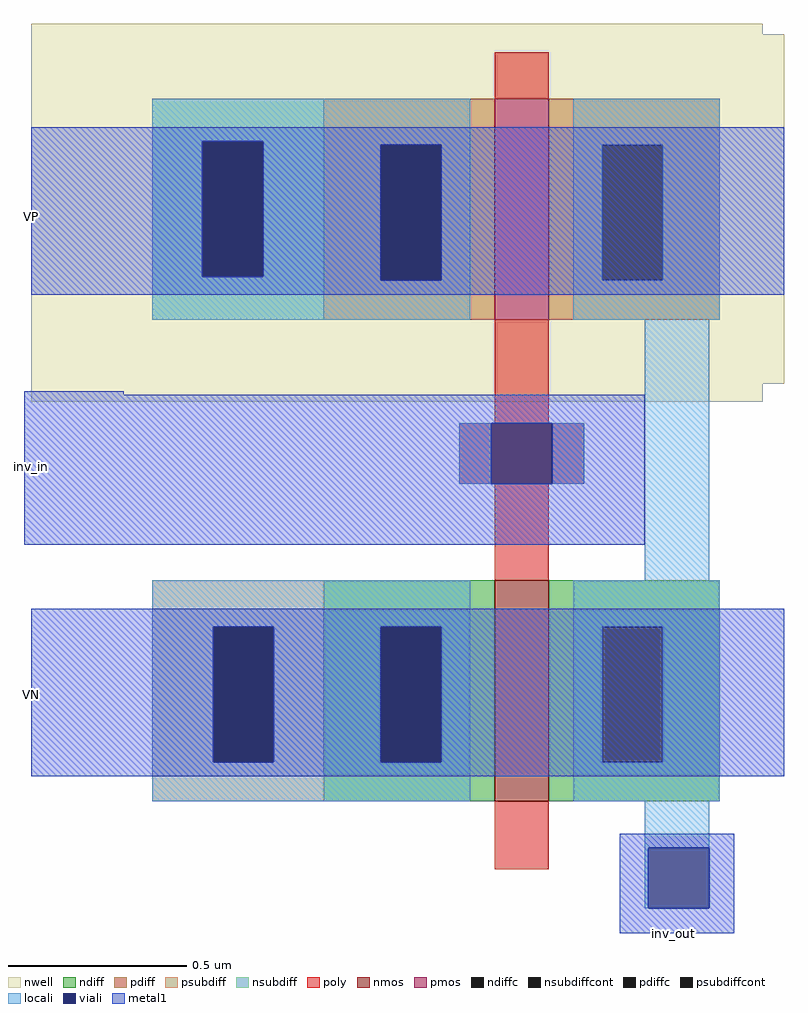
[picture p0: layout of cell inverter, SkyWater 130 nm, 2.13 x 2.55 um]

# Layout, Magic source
magic
tech sky130A
<< nwell >>
rect 338 245 543 248
rect 338 147 549 245
rect 338 142 543 147
<< nmos >>
rect 468 30 483 92
<< pmos >>
rect 468 165 483 227
<< ndiff >>
rect 420 79 468 92
rect 420 41 436 79
rect 453 41 468 79
rect 420 30 468 41
rect 483 79 531 92
rect 483 41 498 79
rect 515 41 531 79
rect 483 30 531 41
<< pdiff >>
rect 420 214 468 227
rect 420 176 436 214
rect 453 176 468 214
rect 420 165 468 176
rect 483 214 531 227
rect 483 176 498 214
rect 515 176 531 214
rect 483 165 531 176
<< ndiffc >>
rect 436 41 453 79
rect 498 41 515 79
<< pdiffc >>
rect 436 176 453 214
rect 498 176 515 214
<< psubdiff >>
rect 372 79 420 92
rect 372 41 389 79
rect 406 41 420 79
rect 372 30 420 41
<< nsubdiff >>
rect 372 215 420 227
rect 372 177 386 215
rect 403 177 420 215
rect 372 165 420 177
<< psubdiffcont >>
rect 389 41 406 79
<< nsubdiffcont >>
rect 386 177 403 215
<< poly >>
rect 468 227 483 240
rect 468 136 483 165
rect 458 119 493 136
rect 468 92 483 119
rect 468 11 483 30
<< locali >>
rect 372 215 461 227
rect 372 177 386 215
rect 403 214 461 215
rect 403 177 436 214
rect 372 176 436 177
rect 453 176 461 214
rect 372 165 461 176
rect 490 214 531 227
rect 490 176 498 214
rect 515 176 531 214
rect 490 165 531 176
rect 458 119 467 136
rect 484 119 493 136
rect 510 92 528 165
rect 372 79 461 92
rect 372 41 389 79
rect 406 41 436 79
rect 453 41 461 79
rect 372 30 461 41
rect 490 79 531 92
rect 490 41 498 79
rect 515 41 531 79
rect 490 30 531 41
rect 510 17 528 30
rect 510 0 511 17
<< viali >>
rect 386 177 403 215
rect 436 176 453 214
rect 467 119 484 136
rect 389 41 406 79
rect 436 41 453 79
rect 511 0 528 17
<< metal1 >>
rect 338 215 549 219
rect 338 177 386 215
rect 403 214 549 215
rect 403 177 436 214
rect 338 176 436 177
rect 453 176 549 214
rect 338 172 549 176
rect 336 144 364 145
rect 336 136 510 144
rect 336 119 467 136
rect 484 119 510 136
rect 336 102 510 119
rect 338 79 549 84
rect 338 41 389 79
rect 406 41 436 79
rect 453 41 549 79
rect 338 37 549 41
rect 503 17 535 21
rect 503 0 511 17
rect 528 0 535 17
rect 503 -7 535 0
<< labels >>
rlabel metal1 518 -7 518 -7 5 inv_out
port 1 s
rlabel metal1 338 60 338 60 7 VN
port 2 w
rlabel metal1 338 194 338 194 7 VP
port 4 w
rlabel metal1 338 124 338 124 7 inv_in
port 3 w
<< end >>
